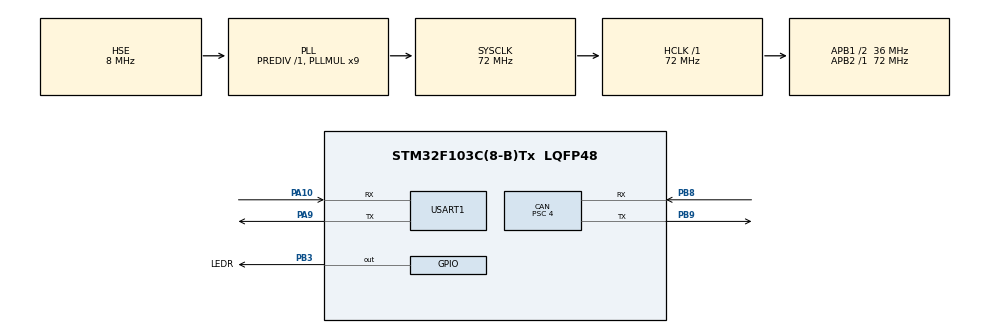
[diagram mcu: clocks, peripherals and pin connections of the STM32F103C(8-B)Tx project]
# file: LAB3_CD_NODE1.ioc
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CAN.BS1=CAN_BS1_13TQ
CAN.BS2=CAN_BS2_4TQ
CAN.CalculateBaudRate=500000
CAN.CalculateTimeBit=2000
CAN.CalculateTimeQuantum=111.11111111111111
CAN.NART=DISABLE
CAN.Prescaler=4
CAN.SJW=CAN_SJW_2TQ
Mcu.Family=STM32F1
Mcu.Name=STM32F103C(8-B)Tx
Mcu.Package=LQFP48
NVIC.PriorityGroup=NVIC_PRIORITYGROUP_4
NVIC.USB_LP_CAN1_RX0_IRQn=true\:0\:0\:false\:false\:true\:true\:true\:true
PA10.Mode=Asynchronous
PA10.Signal=USART1_RX
PA9.Mode=Asynchronous
PA9.Signal=USART1_TX
PB3.GPIO_Label=LEDR
PB3.Signal=GPIO_Output
PB8.Mode=CAN_Activate
PB8.Signal=CAN_RX
PB9.Mode=CAN_Activate
PB9.Signal=CAN_TX
PD0-OSC_IN.Mode=HSE-External-Oscillator
PD0-OSC_IN.Signal=RCC_OSC_IN
PD1-OSC_OUT.Mode=HSE-External-Oscillator
PD1-OSC_OUT.Signal=RCC_OSC_OUT
ProjectManager.HeapSize=0x200
ProjectManager.StackSize=0x400
ProjectManager.TargetToolchain=STM32CubeIDE
RCC.AHBFreq_Value=72000000
RCC.APB1CLKDivider=RCC_HCLK_DIV2
RCC.APB1Freq_Value=36000000
RCC.APB1TimFreq_Value=72000000
RCC.APB2Freq_Value=72000000
RCC.APB2TimFreq_Value=72000000
RCC.HCLKFreq_Value=72000000
RCC.PLLMUL=RCC_PLL_MUL9
RCC.PLLSourceVirtual=RCC_PLLSOURCE_HSE
RCC.SYSCLKFreq_VALUE=72000000
RCC.SYSCLKSource=RCC_SYSCLKSOURCE_PLLCLK
RCC.USBFreq_Value=72000000
USART1.VirtualMode=VM_ASYNC
VP_SYS_VS_ND.Mode=No_Debug
board=custom

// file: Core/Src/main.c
/* USER CODE BEGIN Header */
/**
  ******************************************************************************
  * @file           : main.c
  * @brief          : Main program body
  ******************************************************************************
  * @attention
  *
  * Copyright (c) 2023 STMicroelectronics.
  * All rights reserved.
  *
  * This software is licensed under terms that can be found in the LICENSE file
  * in the root directory of this software component.
  * If no LICENSE file comes with this software, it is provided AS-IS.
  *
  ******************************************************************************
  */
/* USER CODE END Header */
#include "main.h"

/* USER CODE BEGIN PTD */
#define TX_ID 0x012
#define RX_ID 0x0A2
/* USER CODE END PTD */

CAN_HandleTypeDef hcan;

UART_HandleTypeDef huart1;

/* USER CODE BEGIN PV */
uint8_t data[8];

uint8_t calc_SAE_J1850(uint8_t data[],uint8_t crc_len)
{
	uint8_t idx, crc, temp1, temp2, idy;
	idx = 0;
	idy = 0;
	temp1 = 0;
	temp2 = 0;
	for (idx = 0; idx < crc_len;idx++) {
		if (idx == 0)
			temp1 = 0;
		else
			temp1 = data[crc_len - idx];

		crc = (crc ^ temp1);
		for (idy = 8; idy > 0; idy--) {
			temp2 = crc;
			crc <<= 1;
			if (0 != (temp2 & 128))
				crc ^=  0x1D;
		}
	}
	return crc;
}

void CAN_Init() {
	CAN_FilterTypeDef RxFilter = {
			.FilterActivation = CAN_FILTER_ENABLE,
			.FilterBank = 0,
			.FilterFIFOAssignment = CAN_RX_FIFO0,
			.FilterIdHigh = RX_ID << 5,
			.FilterIdLow = 0,
			.FilterMaskIdHigh = 0,
			.FilterMaskIdLow = 0,
			.FilterMode = CAN_FILTERMODE_IDMASK,
			.FilterScale = CAN_FILTERSCALE_16BIT
	};
	HAL_CAN_ConfigFilter(&hcan, &RxFilter);
	HAL_CAN_ActivateNotification(&hcan, CAN_IT_RX_FIFO0_MSG_PENDING);
	HAL_CAN_Start(&hcan);
}

void CAN_Transmit(uint8_t *pData, uint8_t len) {
	CAN_TxHeaderTypeDef TxHeader;
	TxHeader.DLC = len;
	TxHeader.IDE = CAN_ID_STD;
	TxHeader.RTR = CAN_RTR_DATA;
	TxHeader.StdId = TX_ID;
	uint32_t Mailbox;
	HAL_CAN_AddTxMessage(&hcan, &TxHeader, pData, &Mailbox);
}
/* USER CODE END PV */

void SystemClock_Config(void);
static void MX_GPIO_Init(void);
static void MX_CAN_Init(void);
static void MX_USART1_UART_Init(void);

int main(void)
{

  /* MCU Configuration--------------------------------------------------------*/

  /* Reset of all peripherals, Initializes the Flash interface and the Systick. */
  HAL_Init();

  /* Configure the system clock */
  SystemClock_Config();

  /* Initialize all configured peripherals */
  MX_GPIO_Init();
  MX_CAN_Init();
  MX_USART1_UART_Init();
  /* USER CODE BEGIN 2 */
  CAN_Init();
  /* USER CODE END 2 */

  /* Infinite loop */
  /* USER CODE BEGIN WHILE */
  while (1)
  {
  	CAN_Transmit(data, 8);
  	HAL_Delay(700);
    /* USER CODE END WHILE */

  }
}

void SystemClock_Config(void)
{
  RCC_OscInitTypeDef RCC_OscInitStruct = {0};
  RCC_ClkInitTypeDef RCC_ClkInitStruct = {0};

  /** Initializes the RCC Oscillators according to the specified parameters
  * in the RCC_OscInitTypeDef structure.
  */
  RCC_OscInitStruct.OscillatorType = RCC_OSCILLATORTYPE_HSE;
  RCC_OscInitStruct.HSEState = RCC_HSE_ON;
  RCC_OscInitStruct.HSEPredivValue = RCC_HSE_PREDIV_DIV1;
  RCC_OscInitStruct.HSIState = RCC_HSI_ON;
  RCC_OscInitStruct.PLL.PLLState = RCC_PLL_ON;
  RCC_OscInitStruct.PLL.PLLSource = RCC_PLLSOURCE_HSE;
  RCC_OscInitStruct.PLL.PLLMUL = RCC_PLL_MUL9;
  if (HAL_RCC_OscConfig(&RCC_OscInitStruct) != HAL_OK)
  {
    Error_Handler();
  }

  /** Initializes the CPU, AHB and APB buses clocks
  */
  RCC_ClkInitStruct.ClockType = RCC_CLOCKTYPE_HCLK|RCC_CLOCKTYPE_SYSCLK
                              |RCC_CLOCKTYPE_PCLK1|RCC_CLOCKTYPE_PCLK2;
  RCC_ClkInitStruct.SYSCLKSource = RCC_SYSCLKSOURCE_PLLCLK;
  RCC_ClkInitStruct.AHBCLKDivider = RCC_SYSCLK_DIV1;
  RCC_ClkInitStruct.APB1CLKDivider = RCC_HCLK_DIV2;
  RCC_ClkInitStruct.APB2CLKDivider = RCC_HCLK_DIV1;

  if (HAL_RCC_ClockConfig(&RCC_ClkInitStruct, FLASH_LATENCY_2) != HAL_OK)
  {
    Error_Handler();
  }
}

static void MX_CAN_Init(void)
{

  hcan.Instance = CAN1;
  hcan.Init.Prescaler = 4;
  hcan.Init.Mode = CAN_MODE_NORMAL;
  hcan.Init.SyncJumpWidth = CAN_SJW_2TQ;
  hcan.Init.TimeSeg1 = CAN_BS1_13TQ;
  hcan.Init.TimeSeg2 = CAN_BS2_4TQ;
  hcan.Init.TimeTriggeredMode = DISABLE;
  hcan.Init.AutoBusOff = DISABLE;
  hcan.Init.AutoWakeUp = DISABLE;
  hcan.Init.AutoRetransmission = DISABLE;
  hcan.Init.ReceiveFifoLocked = DISABLE;
  hcan.Init.TransmitFifoPriority = DISABLE;
  if (HAL_CAN_Init(&hcan) != HAL_OK)
  {
    Error_Handler();
  }

}

static void MX_USART1_UART_Init(void)
{

  huart1.Instance = USART1;
  huart1.Init.BaudRate = 115200;
  huart1.Init.WordLength = UART_WORDLENGTH_8B;
  huart1.Init.StopBits = UART_STOPBITS_1;
  huart1.Init.Parity = UART_PARITY_NONE;
  huart1.Init.Mode = UART_MODE_TX_RX;
  huart1.Init.HwFlowCtl = UART_HWCONTROL_NONE;
  huart1.Init.OverSampling = UART_OVERSAMPLING_16;
  if (HAL_UART_Init(&huart1) != HAL_OK)
  {
    Error_Handler();
  }

}

static void MX_GPIO_Init(void)
{
  GPIO_InitTypeDef GPIO_InitStruct = {0};

  /* GPIO Ports Clock Enable */
  __HAL_RCC_GPIOD_CLK_ENABLE();
  __HAL_RCC_GPIOA_CLK_ENABLE();
  __HAL_RCC_GPIOB_CLK_ENABLE();

  /*Configure GPIO pin Output Level */
  HAL_GPIO_WritePin(LEDR_GPIO_Port, LEDR_Pin, GPIO_PIN_RESET);

  /*Configure GPIO pin : LEDR_Pin */
  GPIO_InitStruct.Pin = LEDR_Pin;
  GPIO_InitStruct.Mode = GPIO_MODE_OUTPUT_PP;
  GPIO_InitStruct.Pull = GPIO_NOPULL;
  GPIO_InitStruct.Speed = GPIO_SPEED_FREQ_LOW;
  HAL_GPIO_Init(LEDR_GPIO_Port, &GPIO_InitStruct);

}

/* USER CODE BEGIN 4 */
void HAL_CAN_RxFifo0MsgPendingCallback(CAN_HandleTypeDef *hcan) {
	CAN_RxHeaderTypeDef RxHeader;
	HAL_CAN_GetRxMessage(hcan, CAN_FILTER_FIFO0, &RxHeader, data);
	HAL_GPIO_TogglePin(LEDR_GPIO_Port, LEDR_Pin);

	data[2] = data[0] + data[1];
	data[7] = calc_SAE_J1850(data, 7);
	//HAL_UART_Transmit(&huart1, (uint8_t*)"receive", 7, 100);
}
/* USER CODE END 4 */

void Error_Handler(void)
{
  __disable_irq();
  while (1)
  {
  }
}
